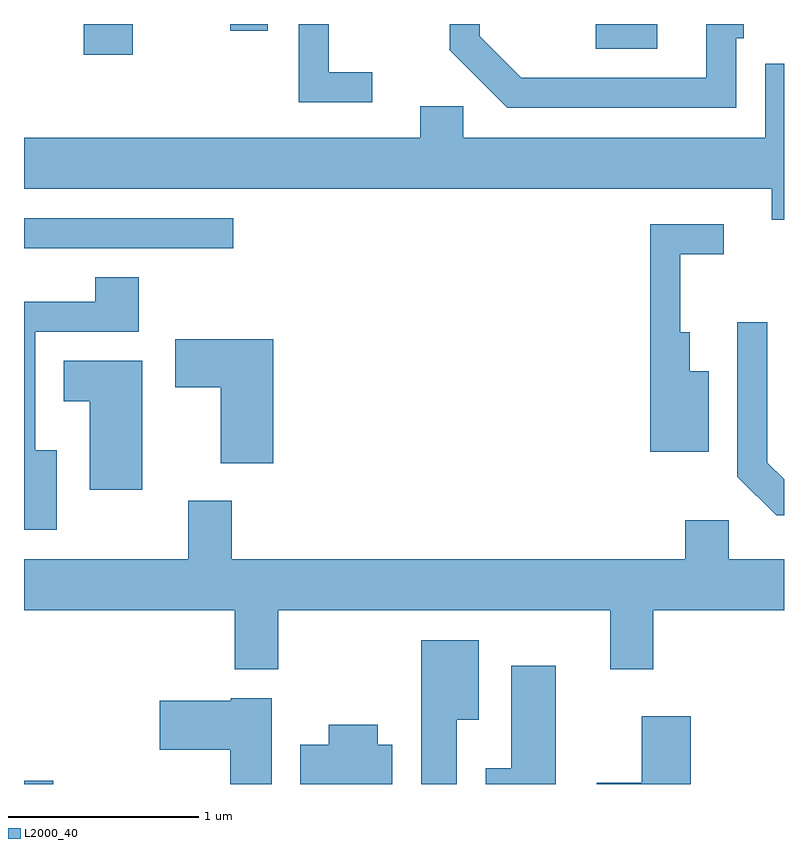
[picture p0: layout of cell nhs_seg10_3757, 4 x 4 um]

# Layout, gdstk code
import gdstk
lib = gdstk.Library(unit=1e-6, precision=1e-09)
def R(c, l, rs):  # rectangles x0, y0, x1, y1
    for r in rs: c.add(gdstk.rectangle(r[:2], r[2:], *l))
def P(c, l, *ps):  # polygons
    for p in ps: c.add(gdstk.Polygon(p, *l))
L2000_40 = (2000, 40)

nhs_seg10_3757 = lib.new_cell('nhs_seg10_3757')
R(nhs_seg10_3757, L2000_40, [(295.611,2148.522,295.764,2148.539), (295.611,2151.341,296.713,2151.499), (295.926,2152.361,296.184,2152.522), (298.621,2152.391,298.943,2152.522), (296.696,2152.486,296.894,2152.522)])
P(nhs_seg10_3757, L2000_40, [(299.359,2152.446),(299.399,2152.446),(299.399,2152.522),(299.201,2152.522),(299.201,2152.239),(298.227,2152.239),(298.009,2152.457),(298.009,2152.522),(297.851,2152.522),(297.851,2152.384),(298.154,2152.081),(299.359,2152.081)],
  [(297.443,2152.269),(297.214,2152.269),(297.214,2152.522),(297.056,2152.522),(297.056,2152.111),(297.443,2152.111)],
  [(299.611,2152.314),(299.511,2152.314),(299.511,2151.924),(297.924,2151.924),(297.924,2152.089),(297.696,2152.089),(297.696,2151.924),(295.611,2151.924),(295.611,2151.656),(299.546,2151.656),(299.546,2151.491),(299.611,2151.491)],
  [(299.214,2150.694),(299.114,2150.694),(299.114,2150.899),(299.064,2150.899),(299.064,2151.311),(299.293,2151.311),(299.293,2151.469),(298.906,2151.469),(298.906,2150.271),(299.214,2150.271)],
  [(295.784,2150.279),(295.669,2150.279),(295.669,2150.901),(296.214,2150.901),(296.214,2151.189),(295.986,2151.189),(295.986,2151.059),(295.611,2151.059),(295.611,2149.861),(295.784,2149.861)],
  [(299.611,2150.125),(299.524,2150.212),(299.524,2150.953),(299.366,2150.953),(299.366,2150.139),(299.569,2149.936),(299.611,2149.936)],
  [(296.924,2150.864),(296.406,2150.864),(296.406,2150.611),(296.646,2150.611),(296.646,2150.211),(296.924,2150.211)],
  [(296.234,2150.749),(295.821,2150.749),(295.821,2150.536),(295.956,2150.536),(295.956,2150.071),(296.234,2150.071)],
  [(296.949,2149.436),(298.696,2149.436),(298.696,2149.126),(298.924,2149.126),(298.924,2149.436),(299.611,2149.436),(299.611,2149.704),(299.319,2149.704),(299.319,2149.909),(299.091,2149.909),(299.091,2149.704),(296.704,2149.704),(296.704,2150.014),(296.476,2150.014),(296.476,2149.704),(295.611,2149.704),(295.611,2149.436),(296.721,2149.436),(296.721,2149.126),(296.949,2149.126)],
  [(297.889,2148.861),(298.004,2148.861),(298.004,2149.279),(297.701,2149.279),(297.701,2148.522),(297.889,2148.522)],
  [(298.409,2149.144),(298.176,2149.144),(298.176,2148.604),(298.041,2148.604),(298.041,2148.522),(298.409,2148.522)],
  [(296.914,2148.974),(296.7,2148.974),(296.7,2148.959),(296.326,2148.959),(296.326,2148.701),(296.696,2148.701),(296.696,2148.522),(296.914,2148.522)],
  [(299.119,2148.879),(298.861,2148.879),(298.861,2148.529),(298.626,2148.529),(298.626,2148.522),(299.119,2148.522)],
  [(297.549,2148.729),(297.474,2148.729),(297.474,2148.834),(297.216,2148.834),(297.216,2148.729),(297.066,2148.729),(297.066,2148.522),(297.549,2148.522)])

lib.write_gds('nhs_seg10_3757.gds')
